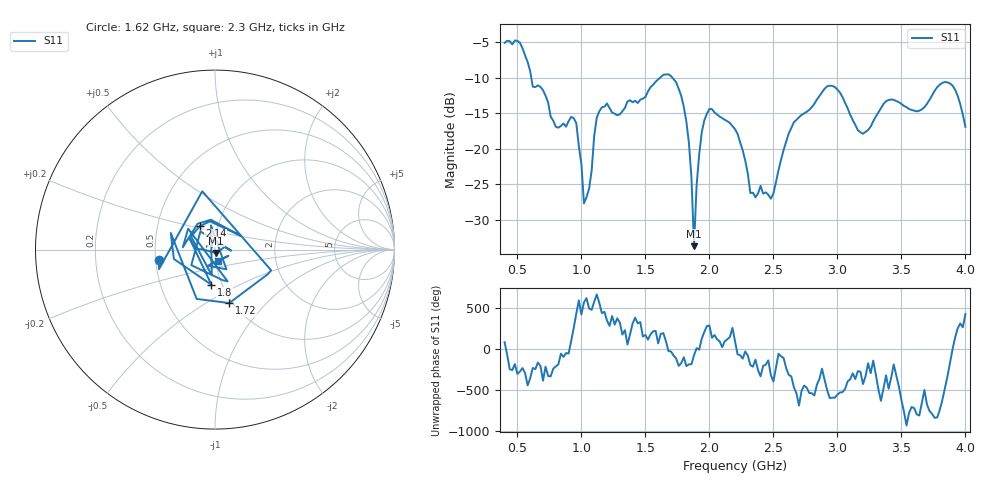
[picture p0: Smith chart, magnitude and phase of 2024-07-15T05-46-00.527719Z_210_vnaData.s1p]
!Created with skrf (http://scikit-rf.org).
# Hz S RI R 50.0
!freq ReS11 ImS11
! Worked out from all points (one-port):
!   181 points, 400 MHz to 4 GHz, reference 50 ohm
!   lowest |S11| = -33.7 dB at 1.88 GHz (marker M1), VSWR 1.04, Z = 50.6 - j1.97 ohm
!   |S11| at or under -10 dB: 608.1 MHz to 1.616 GHz (1.007 GHz wide, 90.6 % of centre); 1.71 GHz to end of sweep
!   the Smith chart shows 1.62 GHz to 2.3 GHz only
!   S11 on the Smith chart (normalised r, x): 1.62 GHz: 0.52, -0.07; 1.72 GHz: 0.97, -0.64; 1.8 GHz: 0.89, -0.36; 2.14 GHz: 0.82, +0.22; 2.3 GHz: 1.03, -0.13
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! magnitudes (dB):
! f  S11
! 400 MHz  -5.1
! 520 MHz  -5.1
! 620 MHz  -11.3
! 860 MHz  -16.5
! 960 MHz  -16.4
! 1.02 GHz  -27.7
! 1.12 GHz  -15.6
! 1.3 GHz  -15.2
! 1.62 GHz  -9.9
! 1.72 GHz  -10.2
! 1.76 GHz  -11.6
! 1.8 GHz  -14.1
! 1.84 GHz  -19.2
! 1.88 GHz  -33.7
! 1.9 GHz  -25.2
! 1.96 GHz  -16.0
! 2.14 GHz  -16.1
! 2.2 GHz  -17.3
! 2.3 GHz  -23.5
! 2.48 GHz  -27.1
! 2.66 GHz  -16.3
! 2.94 GHz  -11.2
! 3.1 GHz  -15.2
! 3.2 GHz  -17.9
! 3.38 GHz  -13.3
! 3.56 GHz  -14.4
! 3.86 GHz  -10.7
! 4 GHz  -16.9
